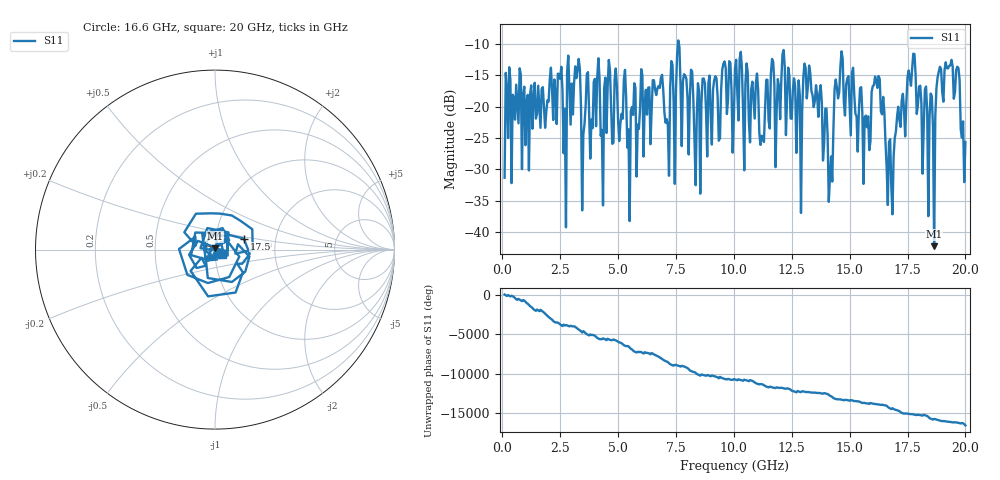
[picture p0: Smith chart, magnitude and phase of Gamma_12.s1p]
#  HZ  S  RI  R  1.00
! Rohde & Schwarz ZVA67 4Ports - Version 4.11 - 1305.7002k04 SN: 101032
! Date: 2023-06-01 16:39:02
! Measurement: a1d2/b1d2sam
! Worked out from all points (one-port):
!   399 points, 100 MHz to 20 GHz, reference 1 ohm
!   lowest |S11| = -42.3 dB at 18.65 GHz (marker M1), VSWR 1.02, Z = 1 + j0.0154 ohm
!   |S11| at or under -10 dB: start of sweep to 7.587 GHz; 7.628 GHz to end of sweep
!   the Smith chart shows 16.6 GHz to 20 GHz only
!   S11 on the Smith chart (normalised r, x): 16.6 GHz: 1.05, -0.05; 17.5 GHz: 1.37, +0.17; 20 GHz: 1.09, -0.07
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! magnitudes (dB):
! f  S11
! 100 MHz  -31.3
! 2.6 GHz  -17.5
! 2.75 GHz  -39.3
! 2.85 GHz  -11.8
! 3.35 GHz  -13.9
! 3.45 GHz  -36.6
! 3.65 GHz  -14.8
! 4.35 GHz  -35.8
! 5.1 GHz  -22.7
! 7.2 GHz  -31.0
! 7.3 GHz  -12.7
! 7.45 GHz  -32.3
! 7.6 GHz  -9.4
! 8.55 GHz  -33.9
! 10.05 GHz  -13.9
! 12.55 GHz  -17.3
! 12.9 GHz  -37.0
! 13.05 GHz  -13.1
! 15.05 GHz  -24.6
! 16.6 GHz  -29.7
! 17.5 GHz  -15.3
! 17.55 GHz  -14.2
! 18.3 GHz  -16.8
! 18.4 GHz  -37.5
! 18.55 GHz  -18.3
! 18.65 GHz  -42.3
! 18.9 GHz  -13.6
! 20 GHz  -25.6
